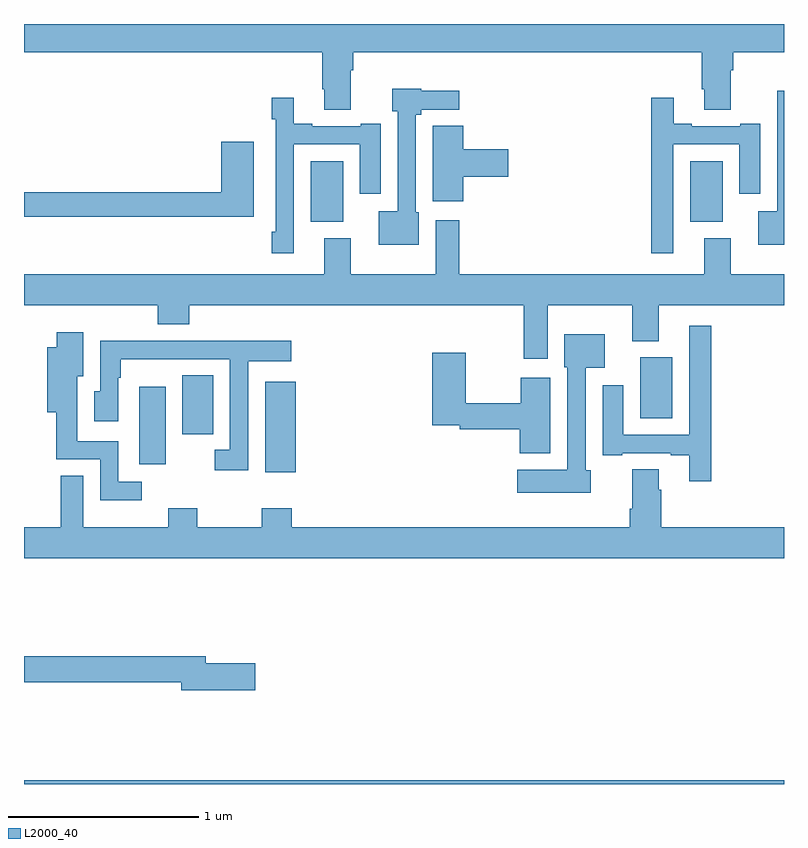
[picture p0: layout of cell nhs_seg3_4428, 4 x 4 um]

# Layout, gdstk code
import gdstk
lib = gdstk.Library(unit=1e-6, precision=1e-09)
def R(c, l, rs):  # rectangles x0, y0, x1, y1
    for r in rs: c.add(gdstk.rectangle(r[:2], r[2:], *l))
def P(c, l, *ps):  # polygons
    for p in ps: c.add(gdstk.Polygon(p, *l))
L2000_40 = (2000, 40)

nhs_seg3_4428 = lib.new_cell('nhs_seg3_4428')
R(nhs_seg3_4428, L2000_40, [(347,694.4,351,694.42), (348.269,696.042,348.43,696.517), (347.606,696.084,347.746,696.49), (347.834,696.24,347.995,696.551), (350.243,696.326,350.413,696.646), (348.509,697.358,348.679,697.678), (350.507,697.358,350.677,697.678)])
P(nhs_seg3_4428, L2000_40, [(348.721,698.156),(348.734,698.156),(348.734,698.252),(350.567,698.252),(350.567,698.056),(350.579,698.056),(350.579,697.948),(350.719,697.948),(350.719,698.156),(350.732,698.156),(350.732,698.252),(351,698.252),(351,698.4),(347,698.4),(347,698.252),(348.569,698.252),(348.569,698.056),(348.581,698.056),(348.581,697.948),(348.721,697.948)],
  [(349.078,697.41),(349.062,697.41),(349.062,697.922),(349.092,697.922),(349.092,697.95),(349.291,697.95),(349.291,698.048),(349.092,698.048),(349.092,698.059),(348.938,698.059),(348.938,697.941),(348.966,697.941),(348.966,697.414),(348.866,697.414),(348.866,697.238),(349.078,697.238)],
  [(351,698.048),(350.964,698.048),(350.964,697.414),(350.864,697.414),(350.864,697.238),(351,697.238)],
  [(350.418,697.767),(350.765,697.767),(350.765,697.506),(350.875,697.506),(350.875,697.876),(350.771,697.876),(350.771,697.863),(350.515,697.863),(350.515,697.876),(350.419,697.876),(350.419,698.011),(350.302,698.011),(350.302,697.194),(350.418,697.194)],
  [(348.42,697.767),(348.767,697.767),(348.767,697.506),(348.877,697.506),(348.877,697.876),(348.773,697.876),(348.773,697.863),(348.517,697.863),(348.517,697.876),(348.421,697.876),(348.421,698.011),(348.304,698.011),(348.304,697.898),(348.324,697.898),(348.324,697.306),(348.304,697.306),(348.304,697.194),(348.42,697.194)],
  [(349.313,697.595),(349.549,697.595),(349.549,697.742),(349.313,697.742),(349.313,697.865),(349.151,697.865),(349.151,697.467),(349.313,697.467)],
  [(348.208,697.78),(348.038,697.78),(348.038,697.514),(347,697.514),(347,697.386),(348.208,697.386)],
  [(349.292,697.366),(349.166,697.366),(349.166,697.084),(348.721,697.084),(348.721,697.273),(348.581,697.273),(348.581,697.084),(347,697.084),(347,696.92),(347.705,696.92),(347.705,696.821),(347.87,696.821),(347.87,696.92),(349.631,696.92),(349.631,696.639),(349.756,696.639),(349.756,696.92),(350.201,696.92),(350.201,696.731),(350.341,696.731),(350.341,696.92),(351,696.92),(351,697.084),(350.719,697.084),(350.719,697.273),(350.579,697.273),(350.579,697.084),(349.292,697.084)],
  [(350.618,696.811),(350.502,696.811),(350.502,696.237),(350.155,696.237),(350.155,696.499),(350.045,696.499),(350.045,696.129),(350.149,696.129),(350.149,696.141),(350.405,696.141),(350.405,696.129),(350.501,696.129),(350.501,695.994),(350.618,695.994)],
  [(347.62,695.991),(347.496,695.991),(347.496,696.204),(347.281,696.204),(347.281,696.545),(347.311,696.545),(347.311,696.778),(347.173,696.778),(347.173,696.7),(347.123,696.7),(347.123,696.356),(347.17,696.356),(347.17,696.108),(347.4,696.108),(347.4,695.894),(347.62,695.894)],
  [(349.984,696.051),(349.956,696.051),(349.956,696.59),(350.056,696.59),(350.056,696.766),(349.844,696.766),(349.844,696.594),(349.86,696.594),(349.86,696.055),(349.596,696.055),(349.596,695.933),(349.984,695.933)],
  [(348.18,696.626),(348.406,696.626),(348.406,696.734),(347.987,696.734),(347.987,696.732),(347.621,696.732),(347.621,696.734),(347.4,696.734),(347.4,696.468),(347.369,696.468),(347.369,696.309),(347.496,696.309),(347.496,696.539),(347.509,696.539),(347.509,696.635),(347.738,696.635),(347.738,696.636),(348.084,696.636),(348.084,696.159),(348.003,696.159),(348.003,696.051),(348.18,696.051)],
  [(349.771,696.538),(349.615,696.538),(349.615,696.404),(349.326,696.404),(349.326,696.67),(349.148,696.67),(349.148,696.288),(349.294,696.288),(349.294,696.268),(349.61,696.268),(349.61,696.14),(349.771,696.14)],
  [(351,695.752),(350.354,695.752),(350.354,695.948),(350.341,695.948),(350.341,696.056),(350.201,696.056),(350.201,695.848),(350.189,695.848),(350.189,695.752),(348.41,695.752),(348.41,695.851),(348.25,695.851),(348.25,695.752),(347.913,695.752),(347.913,695.851),(347.758,695.851),(347.758,695.752),(347.311,695.752),(347.311,696.023),(347.193,696.023),(347.193,695.752),(347,695.752),(347,695.588),(351,695.588)],
  [(348.217,695.036),(347.956,695.036),(347.956,695.072),(347,695.072),(347,694.936),(347.828,694.936),(347.828,694.894),(348.217,694.894)])

lib.write_gds('nhs_seg3_4428.gds')
